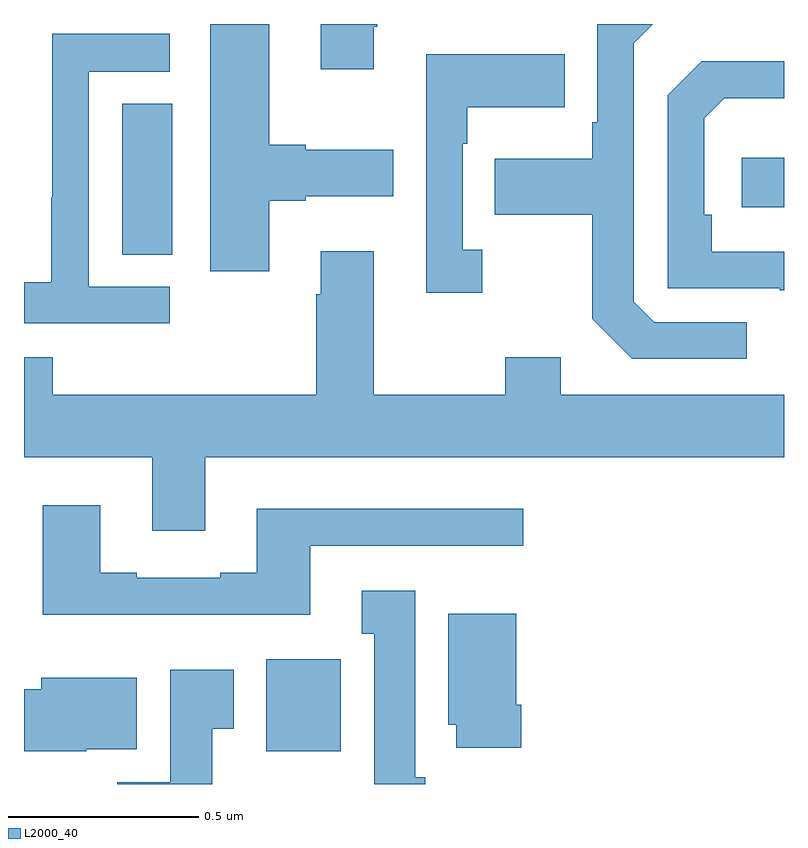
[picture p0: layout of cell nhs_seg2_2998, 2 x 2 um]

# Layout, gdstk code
import gdstk
lib = gdstk.Library(unit=1e-6, precision=1e-09)
def R(c, l, rs):  # rectangles x0, y0, x1, y1
    for r in rs: c.add(gdstk.rectangle(r[:2], r[2:], *l))
def P(c, l, *ps):  # polygons
    for p in ps: c.add(gdstk.Polygon(p, *l))
L2000_40 = (2000, 40)

nhs_seg2_2998 = lib.new_cell('nhs_seg2_2998')
R(nhs_seg2_2998, L2000_40, [(148.637,622.886,148.834,623.128), (148.259,624.193,148.39,624.59), (149.889,624.318,150,624.448)])
P(nhs_seg2_2998, L2000_40, [(148.781,624.681),(148.921,624.681),(148.921,624.793),(148.929,624.793),(148.929,624.8),(148.781,624.8)],
  [(148.645,624.335),(148.741,624.335),(148.741,624.347),(148.972,624.347),(148.972,624.469),(148.741,624.469),(148.741,624.482),(148.645,624.482),(148.645,624.8),(148.49,624.8),(148.49,624.15),(148.645,624.15)],
  [(149.902,624.015),(149.658,624.015),(149.604,624.069),(149.604,624.75),(149.654,624.8),(149.508,624.8),(149.508,624.541),(149.496,624.541),(149.496,624.445),(149.239,624.445),(149.239,624.298),(149.496,624.298),(149.496,624.025),(149.601,623.919),(149.902,623.919)],
  [(148.384,624.108),(148.17,624.108),(148.17,624.675),(148.384,624.675),(148.384,624.774),(148.074,624.774),(148.074,624.344),(148.072,624.344),(148.072,624.121),(148,624.121),(148,624.012),(148.384,624.012)],
  [(149.206,624.206),(149.154,624.206),(149.154,624.485),(149.167,624.485),(149.167,624.581),(149.423,624.581),(149.423,624.721),(149.058,624.721),(149.058,624.093),(149.206,624.093)],
  [(150,624.201),(149.81,624.201),(149.81,624.298),(149.79,624.298),(149.79,624.552),(149.843,624.605),(150,624.605),(150,624.702),(149.784,624.702),(149.694,624.612),(149.694,624.105),(149.989,624.105),(149.989,624.1),(150,624.1)],
  [(148.076,623.923),(148,623.923),(148,623.66),(148.337,623.66),(148.337,623.466),(148.477,623.466),(148.477,623.66),(150,623.66),(150,623.824),(149.413,623.824),(149.413,623.923),(149.266,623.923),(149.266,623.824),(148.921,623.824),(148.921,624.202),(148.781,624.202),(148.781,624.089),(148.769,624.089),(148.769,623.824),(148.076,623.824)],
  [(148.753,623.427),(149.314,623.427),(149.314,623.524),(148.613,623.524),(148.613,623.356),(148.517,623.356),(148.517,623.343),(148.297,623.343),(148.297,623.356),(148.201,623.356),(148.201,623.533),(148.049,623.533),(148.049,623.246),(148.753,623.246)],
  [(149.056,622.818),(149.029,622.818),(149.029,623.308),(148.889,623.308),(148.889,623.195),(148.922,623.195),(148.922,622.8),(149.056,622.8)],
  [(149.309,623.008),(149.296,623.008),(149.296,623.248),(149.117,623.248),(149.117,622.956),(149.138,622.956),(149.138,622.896),(149.309,622.896)],
  [(148.495,622.945),(148.552,622.945),(148.552,623.101),(148.385,623.101),(148.385,622.804),(148.246,622.804),(148.246,622.8),(148.495,622.8)],
  [(148.164,622.892),(148.297,622.892),(148.297,623.08),(148.046,623.08),(148.046,623.05),(148,623.05),(148,622.886),(148.164,622.886)])

lib.write_gds('nhs_seg2_2998.gds')
